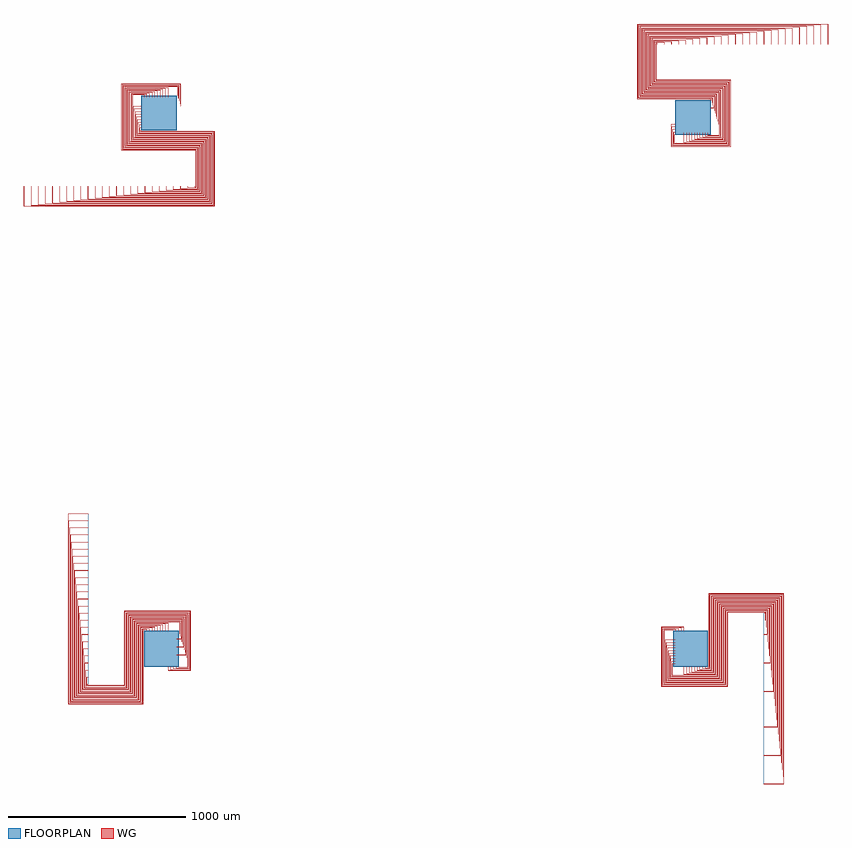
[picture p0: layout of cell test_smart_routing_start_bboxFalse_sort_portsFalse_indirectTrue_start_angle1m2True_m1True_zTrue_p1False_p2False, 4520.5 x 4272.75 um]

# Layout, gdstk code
import gdstk
lib = gdstk.Library(unit=1e-6, precision=1e-09)
def R(c, l, rs):  # rectangles x0, y0, x1, y1
    for r in rs: c.add(gdstk.rectangle(r[:2], r[2:], *l))
def P(c, l, *ps):  # polygons
    for p in ps: c.add(gdstk.Polygon(p, *l))
WG = (1, 0)
FLOORPLAN = (10, 0)

test_smart_routing_start = lib.new_cell('test_smart_routing_start_bboxFalse_sort_portsFalse_indirectTrue_start_angle1m2True_m1True_zTrue_p1False_p2False')
P(test_smart_routing_start, WG, [(-404.5,-204.75),(-404.5,-199.75),(-400,-199.75),(-400,-200.25),(-404,-200.25),(-404,-204.25),(-197.75,-204.25),(-197.75,212.5),(177.75,212.5),(177.75,-122.5),(49.75,-122.5),(49.75,-100),(50.25,-100),(50.25,-122),(177.25,-122),(177.25,212),(-197.25,212),(-197.25,-204.75)],
  [(-409,-209.25),(-409,-159.75),(-400,-159.75),(-400,-160.25),(-408.5,-160.25),(-408.5,-208.75),(-193.25,-208.75),(-193.25,208),(173.25,208),(173.25,-118),(64.75,-118),(64.75,-100),(65.25,-100),(65.25,-117.5),(172.75,-117.5),(172.75,207.5),(-192.75,207.5),(-192.75,-209.25)],
  [(-413.5,-213.75),(-413.5,-119.75),(-400,-119.75),(-400,-120.25),(-413,-120.25),(-413,-213.25),(-188.75,-213.25),(-188.75,203.5),(168.75,203.5),(168.75,-113.5),(79.75,-113.5),(79.75,-100),(80.25,-100),(80.25,-113),(168.25,-113),(168.25,203),(-188.25,203),(-188.25,-213.75)],
  [(-418,-218.25),(-418,-79.75),(-400,-79.75),(-400,-80.25),(-417.5,-80.25),(-417.5,-217.75),(-184.25,-217.75),(-184.25,199),(164.25,199),(164.25,-109),(94.75,-109),(94.75,-100),(95.25,-100),(95.25,-108.5),(163.75,-108.5),(163.75,198.5),(-183.75,198.5),(-183.75,-218.25)],
  [(-422.5,-222.75),(-422.5,-39.75),(-400,-39.75),(-400,-40.25),(-422,-40.25),(-422,-222.25),(-179.75,-222.25),(-179.75,194.5),(159.75,194.5),(159.75,-104.5),(109.75,-104.5),(109.75,-100),(110.25,-100),(110.25,-104),(159.25,-104),(159.25,194),(-179.25,194),(-179.25,-222.75)],
  [(-427,-227.25),(-427,0.25),(-400,0.25),(-400,-0.25),(-426.5,-0.25),(-426.5,-226.75),(-175.25,-226.75),(-175.25,190),(155.25,190),(155.25,-50.25),(100,-50.25),(100,-49.75),(154.75,-49.75),(154.75,189.5),(-174.75,189.5),(-174.75,-227.25)],
  [(-431.5,-231.75),(-431.5,40.25),(-400,40.25),(-400,39.75),(-431,39.75),(-431,-231.25),(-170.75,-231.25),(-170.75,185.5),(150.75,185.5),(150.75,-35.25),(100,-35.25),(100,-34.75),(150.25,-34.75),(150.25,185),(-170.25,185),(-170.25,-231.75)],
  [(-436,-236.25),(-436,80.25),(-400,80.25),(-400,79.75),(-435.5,79.75),(-435.5,-235.75),(-166.25,-235.75),(-166.25,181),(146.25,181),(146.25,-20.25),(100,-20.25),(100,-19.75),(145.75,-19.75),(145.75,180.5),(-165.75,180.5),(-165.75,-236.25)],
  [(-440.5,-240.75),(-440.5,120.25),(-400,120.25),(-400,119.75),(-440,119.75),(-440,-240.25),(-161.75,-240.25),(-161.75,176.5),(141.75,176.5),(141.75,-5.25),(100,-5.25),(100,-4.75),(141.25,-4.75),(141.25,176),(-161.25,176),(-161.25,-240.75)],
  [(-445,-245.25),(-445,160.25),(-400,160.25),(-400,159.75),(-444.5,159.75),(-444.5,-244.75),(-157.25,-244.75),(-157.25,172),(137.25,172),(137.25,9.75),(100,9.75),(100,10.25),(136.75,10.25),(136.75,171.5),(-156.75,171.5),(-156.75,-245.25)],
  [(-449.5,-249.75),(-449.5,200.25),(-400,200.25),(-400,199.75),(-449,199.75),(-449,-249.25),(-152.75,-249.25),(-152.75,167.5),(132.75,167.5),(132.75,24.75),(100,24.75),(100,25.25),(132.25,25.25),(132.25,167),(-152.25,167),(-152.25,-249.75)],
  [(-454,-254.25),(-454,240.25),(-400,240.25),(-400,239.75),(-453.5,239.75),(-453.5,-253.75),(-148.25,-253.75),(-148.25,163),(128.25,163),(128.25,39.75),(100,39.75),(100,40.25),(127.75,40.25),(127.75,162.5),(-147.75,162.5),(-147.75,-254.25)],
  [(-458.5,-258.75),(-458.5,280.25),(-400,280.25),(-400,279.75),(-458,279.75),(-458,-258.25),(-143.75,-258.25),(-143.75,158.5),(123.75,158.5),(123.75,54.75),(100,54.75),(100,55.25),(123.25,55.25),(123.25,158),(-143.25,158),(-143.25,-258.75)],
  [(-463,-263.25),(-463,320.25),(-400,320.25),(-400,319.75),(-462.5,319.75),(-462.5,-262.75),(-139.25,-262.75),(-139.25,154),(119.25,154),(119.25,69.75),(100,69.75),(100,70.25),(118.75,70.25),(118.75,153.5),(-138.75,153.5),(-138.75,-263.25)],
  [(-467.5,-267.75),(-467.5,360.25),(-400,360.25),(-400,359.75),(-467,359.75),(-467,-267.25),(-134.75,-267.25),(-134.75,149.5),(114.75,149.5),(114.75,84.75),(100,84.75),(100,85.25),(114.25,85.25),(114.25,149),(-134.25,149),(-134.25,-267.75)],
  [(-472,-272.25),(-472,400.25),(-400,400.25),(-400,399.75),(-471.5,399.75),(-471.5,-271.75),(-130.25,-271.75),(-130.25,145),(50.25,145),(50.25,100),(49.75,100),(49.75,144.5),(-129.75,144.5),(-129.75,-272.25)],
  [(-476.5,-276.75),(-476.5,440.25),(-400,440.25),(-400,439.75),(-476,439.75),(-476,-276.25),(-125.75,-276.25),(-125.75,140.5),(35.25,140.5),(35.25,100),(34.75,100),(34.75,140),(-125.25,140),(-125.25,-276.75)],
  [(-481,-281.25),(-481,480.25),(-400,480.25),(-400,479.75),(-480.5,479.75),(-480.5,-280.75),(-121.25,-280.75),(-121.25,136),(20.25,136),(20.25,100),(19.75,100),(19.75,135.5),(-120.75,135.5),(-120.75,-281.25)],
  [(-485.5,-285.75),(-485.5,520.25),(-400,520.25),(-400,519.75),(-485,519.75),(-485,-285.25),(-116.75,-285.25),(-116.75,131.5),(5.25,131.5),(5.25,100),(4.75,100),(4.75,131),(-116.25,131),(-116.25,-285.75)],
  [(-490,-290.25),(-490,560.25),(-400,560.25),(-400,559.75),(-489.5,559.75),(-489.5,-289.75),(-112.25,-289.75),(-112.25,127),(-9.75,127),(-9.75,100),(-10.25,100),(-10.25,126.5),(-111.75,126.5),(-111.75,-290.25)],
  [(-494.5,-294.75),(-494.5,600.25),(-400,600.25),(-400,599.75),(-494,599.75),(-494,-294.25),(-107.75,-294.25),(-107.75,122.5),(-24.75,122.5),(-24.75,100),(-25.25,100),(-25.25,122),(-107.25,122),(-107.25,-294.75)],
  [(-499,-299.25),(-499,640.25),(-400,640.25),(-400,639.75),(-498.5,639.75),(-498.5,-298.75),(-103.25,-298.75),(-103.25,118),(-39.75,118),(-39.75,100),(-40.25,100),(-40.25,117.5),(-102.75,117.5),(-102.75,-299.25)],
  [(-503.5,-303.75),(-503.5,680.25),(-400,680.25),(-400,679.75),(-503,679.75),(-503,-303.25),(-98.75,-303.25),(-98.75,113.5),(-54.75,113.5),(-54.75,100),(-55.25,100),(-55.25,113),(-98.25,113),(-98.25,-303.75)],
  [(-508,-308.25),(-508,720.25),(-400,720.25),(-400,719.75),(-507.5,719.75),(-507.5,-307.75),(-94.25,-307.75),(-94.25,109),(-69.75,109),(-69.75,100),(-70.25,100),(-70.25,108.5),(-93.75,108.5),(-93.75,-308.25)],
  [(-512.5,-312.75),(-512.5,760.25),(-400,760.25),(-400,759.75),(-512,759.75),(-512,-312.25),(-89.75,-312.25),(-89.75,104.5),(-84.75,104.5),(-84.75,100),(-85.25,100),(-85.25,104),(-89.25,104),(-89.25,-312.75)],
  [(199.75,2595.5),(199.75,2600),(200.25,2600),(200.25,2596),(204.25,2596),(204.25,2802.25),(-212.5,2802.25),(-212.5,3177.75),(122.5,3177.75),(122.5,3049.75),(100,3049.75),(100,3050.25),(122,3050.25),(122,3177.25),(-212,3177.25),(-212,2802.75),(204.75,2802.75),(204.75,2595.5)],
  [(159.75,2591),(159.75,2600),(160.25,2600),(160.25,2591.5),(208.75,2591.5),(208.75,2806.75),(-208,2806.75),(-208,3173.25),(118,3173.25),(118,3064.75),(100,3064.75),(100,3065.25),(117.5,3065.25),(117.5,3172.75),(-207.5,3172.75),(-207.5,2807.25),(209.25,2807.25),(209.25,2591)],
  [(119.75,2586.5),(119.75,2600),(120.25,2600),(120.25,2587),(213.25,2587),(213.25,2811.25),(-203.5,2811.25),(-203.5,3168.75),(113.5,3168.75),(113.5,3079.75),(100,3079.75),(100,3080.25),(113,3080.25),(113,3168.25),(-203,3168.25),(-203,2811.75),(213.75,2811.75),(213.75,2586.5)],
  [(79.75,2582),(79.75,2600),(80.25,2600),(80.25,2582.5),(217.75,2582.5),(217.75,2815.75),(-199,2815.75),(-199,3164.25),(109,3164.25),(109,3094.75),(100,3094.75),(100,3095.25),(108.5,3095.25),(108.5,3163.75),(-198.5,3163.75),(-198.5,2816.25),(218.25,2816.25),(218.25,2582)],
  [(39.75,2577.5),(39.75,2600),(40.25,2600),(40.25,2578),(222.25,2578),(222.25,2820.25),(-194.5,2820.25),(-194.5,3159.75),(104.5,3159.75),(104.5,3109.75),(100,3109.75),(100,3110.25),(104,3110.25),(104,3159.25),(-194,3159.25),(-194,2820.75),(222.75,2820.75),(222.75,2577.5)],
  [(-0.25,2573),(-0.25,2600),(0.25,2600),(0.25,2573.5),(226.75,2573.5),(226.75,2824.75),(-190,2824.75),(-190,3155.25),(50.25,3155.25),(50.25,3100),(49.75,3100),(49.75,3154.75),(-189.5,3154.75),(-189.5,2825.25),(227.25,2825.25),(227.25,2573)],
  [(-40.25,2568.5),(-40.25,2600),(-39.75,2600),(-39.75,2569),(231.25,2569),(231.25,2829.25),(-185.5,2829.25),(-185.5,3150.75),(35.25,3150.75),(35.25,3100),(34.75,3100),(34.75,3150.25),(-185,3150.25),(-185,2829.75),(231.75,2829.75),(231.75,2568.5)],
  [(-80.25,2564),(-80.25,2600),(-79.75,2600),(-79.75,2564.5),(235.75,2564.5),(235.75,2833.75),(-181,2833.75),(-181,3146.25),(20.25,3146.25),(20.25,3100),(19.75,3100),(19.75,3145.75),(-180.5,3145.75),(-180.5,2834.25),(236.25,2834.25),(236.25,2564)],
  [(-120.25,2559.5),(-120.25,2600),(-119.75,2600),(-119.75,2560),(240.25,2560),(240.25,2838.25),(-176.5,2838.25),(-176.5,3141.75),(5.25,3141.75),(5.25,3100),(4.75,3100),(4.75,3141.25),(-176,3141.25),(-176,2838.75),(240.75,2838.75),(240.75,2559.5)],
  [(-160.25,2555),(-160.25,2600),(-159.75,2600),(-159.75,2555.5),(244.75,2555.5),(244.75,2842.75),(-172,2842.75),(-172,3137.25),(-9.75,3137.25),(-9.75,3100),(-10.25,3100),(-10.25,3136.75),(-171.5,3136.75),(-171.5,2843.25),(245.25,2843.25),(245.25,2555)],
  [(-200.25,2550.5),(-200.25,2600),(-199.75,2600),(-199.75,2551),(249.25,2551),(249.25,2847.25),(-167.5,2847.25),(-167.5,3132.75),(-24.75,3132.75),(-24.75,3100),(-25.25,3100),(-25.25,3132.25),(-167,3132.25),(-167,2847.75),(249.75,2847.75),(249.75,2550.5)],
  [(-240.25,2546),(-240.25,2600),(-239.75,2600),(-239.75,2546.5),(253.75,2546.5),(253.75,2851.75),(-163,2851.75),(-163,3128.25),(-39.75,3128.25),(-39.75,3100),(-40.25,3100),(-40.25,3127.75),(-162.5,3127.75),(-162.5,2852.25),(254.25,2852.25),(254.25,2546)],
  [(-280.25,2541.5),(-280.25,2600),(-279.75,2600),(-279.75,2542),(258.25,2542),(258.25,2856.25),(-158.5,2856.25),(-158.5,3123.75),(-54.75,3123.75),(-54.75,3100),(-55.25,3100),(-55.25,3123.25),(-158,3123.25),(-158,2856.75),(258.75,2856.75),(258.75,2541.5)],
  [(-320.25,2537),(-320.25,2600),(-319.75,2600),(-319.75,2537.5),(262.75,2537.5),(262.75,2860.75),(-154,2860.75),(-154,3119.25),(-69.75,3119.25),(-69.75,3100),(-70.25,3100),(-70.25,3118.75),(-153.5,3118.75),(-153.5,2861.25),(263.25,2861.25),(263.25,2537)],
  [(-360.25,2532.5),(-360.25,2600),(-359.75,2600),(-359.75,2533),(267.25,2533),(267.25,2865.25),(-149.5,2865.25),(-149.5,3114.75),(-84.75,3114.75),(-84.75,3100),(-85.25,3100),(-85.25,3114.25),(-149,3114.25),(-149,2865.75),(267.75,2865.75),(267.75,2532.5)],
  [(-400.25,2528),(-400.25,2600),(-399.75,2600),(-399.75,2528.5),(271.75,2528.5),(271.75,2869.75),(-145,2869.75),(-145,3050.25),(-100,3050.25),(-100,3049.75),(-144.5,3049.75),(-144.5,2870.25),(272.25,2870.25),(272.25,2528)],
  [(-440.25,2523.5),(-440.25,2600),(-439.75,2600),(-439.75,2524),(276.25,2524),(276.25,2874.25),(-140.5,2874.25),(-140.5,3035.25),(-100,3035.25),(-100,3034.75),(-140,3034.75),(-140,2874.75),(276.75,2874.75),(276.75,2523.5)],
  [(-480.25,2519),(-480.25,2600),(-479.75,2600),(-479.75,2519.5),(280.75,2519.5),(280.75,2878.75),(-136,2878.75),(-136,3020.25),(-100,3020.25),(-100,3019.75),(-135.5,3019.75),(-135.5,2879.25),(281.25,2879.25),(281.25,2519)],
  [(-520.25,2514.5),(-520.25,2600),(-519.75,2600),(-519.75,2515),(285.25,2515),(285.25,2883.25),(-131.5,2883.25),(-131.5,3005.25),(-100,3005.25),(-100,3004.75),(-131,3004.75),(-131,2883.75),(285.75,2883.75),(285.75,2514.5)],
  [(-560.25,2510),(-560.25,2600),(-559.75,2600),(-559.75,2510.5),(289.75,2510.5),(289.75,2887.75),(-127,2887.75),(-127,2990.25),(-100,2990.25),(-100,2989.75),(-126.5,2989.75),(-126.5,2888.25),(290.25,2888.25),(290.25,2510)],
  [(-600.25,2505.5),(-600.25,2600),(-599.75,2600),(-599.75,2506),(294.25,2506),(294.25,2892.25),(-122.5,2892.25),(-122.5,2975.25),(-100,2975.25),(-100,2974.75),(-122,2974.75),(-122,2892.75),(294.75,2892.75),(294.75,2505.5)],
  [(-640.25,2501),(-640.25,2600),(-639.75,2600),(-639.75,2501.5),(298.75,2501.5),(298.75,2896.75),(-118,2896.75),(-118,2960.25),(-100,2960.25),(-100,2959.75),(-117.5,2959.75),(-117.5,2897.25),(299.25,2897.25),(299.25,2501)],
  [(-680.25,2496.5),(-680.25,2600),(-679.75,2600),(-679.75,2497),(303.25,2497),(303.25,2901.25),(-113.5,2901.25),(-113.5,2945.25),(-100,2945.25),(-100,2944.75),(-113,2944.75),(-113,2901.75),(303.75,2901.75),(303.75,2496.5)],
  [(-720.25,2492),(-720.25,2600),(-719.75,2600),(-719.75,2492.5),(307.75,2492.5),(307.75,2905.75),(-109,2905.75),(-109,2930.25),(-100,2930.25),(-100,2929.75),(-108.5,2929.75),(-108.5,2906.25),(308.25,2906.25),(308.25,2492)],
  [(-760.25,2487.5),(-760.25,2600),(-759.75,2600),(-759.75,2488),(312.25,2488),(312.25,2910.25),(-104.5,2910.25),(-104.5,2915.25),(-100,2915.25),(-100,2914.75),(-104,2914.75),(-104,2910.75),(312.75,2910.75),(312.75,2487.5)],
  [(2822.25,-212.5),(2822.25,122.5),(2950.25,122.5),(2950.25,100),(2949.75,100),(2949.75,122),(2822.75,122),(2822.75,-212),(3197.25,-212),(3197.25,204.75),(3404.5,204.75),(3404.5,199.75),(3400,199.75),(3400,200.25),(3404,200.25),(3404,204.25),(3197.75,204.25),(3197.75,-212.5)],
  [(2826.75,-208),(2826.75,118),(2935.25,118),(2935.25,100),(2934.75,100),(2934.75,117.5),(2827.25,117.5),(2827.25,-207.5),(3192.75,-207.5),(3192.75,209.25),(3409,209.25),(3409,159.75),(3400,159.75),(3400,160.25),(3408.5,160.25),(3408.5,208.75),(3193.25,208.75),(3193.25,-208)],
  [(2831.25,-203.5),(2831.25,113.5),(2920.25,113.5),(2920.25,100),(2919.75,100),(2919.75,113),(2831.75,113),(2831.75,-203),(3188.25,-203),(3188.25,213.75),(3413.5,213.75),(3413.5,119.75),(3400,119.75),(3400,120.25),(3413,120.25),(3413,213.25),(3188.75,213.25),(3188.75,-203.5)],
  [(2835.75,-199),(2835.75,109),(2905.25,109),(2905.25,100),(2904.75,100),(2904.75,108.5),(2836.25,108.5),(2836.25,-198.5),(3183.75,-198.5),(3183.75,218.25),(3418,218.25),(3418,79.75),(3400,79.75),(3400,80.25),(3417.5,80.25),(3417.5,217.75),(3184.25,217.75),(3184.25,-199)],
  [(2840.25,-194.5),(2840.25,104.5),(2890.25,104.5),(2890.25,100),(2889.75,100),(2889.75,104),(2840.75,104),(2840.75,-194),(3179.25,-194),(3179.25,222.75),(3422.5,222.75),(3422.5,39.75),(3400,39.75),(3400,40.25),(3422,40.25),(3422,222.25),(3179.75,222.25),(3179.75,-194.5)],
  [(2844.75,-190),(2844.75,50.25),(2900,50.25),(2900,49.75),(2845.25,49.75),(2845.25,-189.5),(3174.75,-189.5),(3174.75,227.25),(3427,227.25),(3427,-0.25),(3400,-0.25),(3400,0.25),(3426.5,0.25),(3426.5,226.75),(3175.25,226.75),(3175.25,-190)],
  [(2849.25,-185.5),(2849.25,35.25),(2900,35.25),(2900,34.75),(2849.75,34.75),(2849.75,-185),(3170.25,-185),(3170.25,231.75),(3431.5,231.75),(3431.5,-40.25),(3400,-40.25),(3400,-39.75),(3431,-39.75),(3431,231.25),(3170.75,231.25),(3170.75,-185.5)],
  [(2853.75,-181),(2853.75,20.25),(2900,20.25),(2900,19.75),(2854.25,19.75),(2854.25,-180.5),(3165.75,-180.5),(3165.75,236.25),(3436,236.25),(3436,-80.25),(3400,-80.25),(3400,-79.75),(3435.5,-79.75),(3435.5,235.75),(3166.25,235.75),(3166.25,-181)],
  [(2858.25,-176.5),(2858.25,5.25),(2900,5.25),(2900,4.75),(2858.75,4.75),(2858.75,-176),(3161.25,-176),(3161.25,240.75),(3440.5,240.75),(3440.5,-120.25),(3400,-120.25),(3400,-119.75),(3440,-119.75),(3440,240.25),(3161.75,240.25),(3161.75,-176.5)],
  [(2862.75,-172),(2862.75,-9.75),(2900,-9.75),(2900,-10.25),(2863.25,-10.25),(2863.25,-171.5),(3156.75,-171.5),(3156.75,245.25),(3445,245.25),(3445,-160.25),(3400,-160.25),(3400,-159.75),(3444.5,-159.75),(3444.5,244.75),(3157.25,244.75),(3157.25,-172)],
  [(3400,-200.25),(3400,-199.75),(3449,-199.75),(3449,249.25),(3152.75,249.25),(3152.75,-167.5),(2867.25,-167.5),(2867.25,-24.75),(2900,-24.75),(2900,-25.25),(2867.75,-25.25),(2867.75,-167),(3152.25,-167),(3152.25,249.75),(3449.5,249.75),(3449.5,-200.25)],
  [(3400,-240.25),(3400,-239.75),(3453.5,-239.75),(3453.5,253.75),(3148.25,253.75),(3148.25,-163),(2871.75,-163),(2871.75,-39.75),(2900,-39.75),(2900,-40.25),(2872.25,-40.25),(2872.25,-162.5),(3147.75,-162.5),(3147.75,254.25),(3454,254.25),(3454,-240.25)],
  [(3400,-280.25),(3400,-279.75),(3458,-279.75),(3458,258.25),(3143.75,258.25),(3143.75,-158.5),(2876.25,-158.5),(2876.25,-54.75),(2900,-54.75),(2900,-55.25),(2876.75,-55.25),(2876.75,-158),(3143.25,-158),(3143.25,258.75),(3458.5,258.75),(3458.5,-280.25)],
  [(3400,-320.25),(3400,-319.75),(3462.5,-319.75),(3462.5,262.75),(3139.25,262.75),(3139.25,-154),(2880.75,-154),(2880.75,-69.75),(2900,-69.75),(2900,-70.25),(2881.25,-70.25),(2881.25,-153.5),(3138.75,-153.5),(3138.75,263.25),(3463,263.25),(3463,-320.25)],
  [(3400,-360.25),(3400,-359.75),(3467,-359.75),(3467,267.25),(3134.75,267.25),(3134.75,-149.5),(2885.25,-149.5),(2885.25,-84.75),(2900,-84.75),(2900,-85.25),(2885.75,-85.25),(2885.75,-149),(3134.25,-149),(3134.25,267.75),(3467.5,267.75),(3467.5,-360.25)],
  [(3400,-400.25),(3400,-399.75),(3471.5,-399.75),(3471.5,271.75),(3130.25,271.75),(3130.25,-145),(2949.75,-145),(2949.75,-100),(2950.25,-100),(2950.25,-144.5),(3129.75,-144.5),(3129.75,272.25),(3472,272.25),(3472,-400.25)],
  [(3400,-440.25),(3400,-439.75),(3476,-439.75),(3476,276.25),(3125.75,276.25),(3125.75,-140.5),(2964.75,-140.5),(2964.75,-100),(2965.25,-100),(2965.25,-140),(3125.25,-140),(3125.25,276.75),(3476.5,276.75),(3476.5,-440.25)],
  [(3400,-480.25),(3400,-479.75),(3480.5,-479.75),(3480.5,280.75),(3121.25,280.75),(3121.25,-136),(2979.75,-136),(2979.75,-100),(2980.25,-100),(2980.25,-135.5),(3120.75,-135.5),(3120.75,281.25),(3481,281.25),(3481,-480.25)],
  [(3400,-520.25),(3400,-519.75),(3485,-519.75),(3485,285.25),(3116.75,285.25),(3116.75,-131.5),(2994.75,-131.5),(2994.75,-100),(2995.25,-100),(2995.25,-131),(3116.25,-131),(3116.25,285.75),(3485.5,285.75),(3485.5,-520.25)],
  [(3400,-560.25),(3400,-559.75),(3489.5,-559.75),(3489.5,289.75),(3112.25,289.75),(3112.25,-127),(3009.75,-127),(3009.75,-100),(3010.25,-100),(3010.25,-126.5),(3111.75,-126.5),(3111.75,290.25),(3490,290.25),(3490,-560.25)],
  [(3400,-600.25),(3400,-599.75),(3494,-599.75),(3494,294.25),(3107.75,294.25),(3107.75,-122.5),(3024.75,-122.5),(3024.75,-100),(3025.25,-100),(3025.25,-122),(3107.25,-122),(3107.25,294.75),(3494.5,294.75),(3494.5,-600.25)],
  [(3400,-640.25),(3400,-639.75),(3498.5,-639.75),(3498.5,298.75),(3103.25,298.75),(3103.25,-118),(3039.75,-118),(3039.75,-100),(3040.25,-100),(3040.25,-117.5),(3102.75,-117.5),(3102.75,299.25),(3499,299.25),(3499,-640.25)],
  [(3400,-680.25),(3400,-679.75),(3503,-679.75),(3503,303.25),(3098.75,303.25),(3098.75,-113.5),(3054.75,-113.5),(3054.75,-100),(3055.25,-100),(3055.25,-113),(3098.25,-113),(3098.25,303.75),(3503.5,303.75),(3503.5,-680.25)],
  [(3400,-720.25),(3400,-719.75),(3507.5,-719.75),(3507.5,307.75),(3094.25,307.75),(3094.25,-109),(3069.75,-109),(3069.75,-100),(3070.25,-100),(3070.25,-108.5),(3093.75,-108.5),(3093.75,308.25),(3508,308.25),(3508,-720.25)],
  [(3400,-760.25),(3400,-759.75),(3512,-759.75),(3512,312.25),(3089.75,312.25),(3089.75,-104.5),(3084.75,-104.5),(3084.75,-100),(3085.25,-100),(3085.25,-104),(3089.25,-104),(3089.25,312.75),(3512.5,312.75),(3512.5,-760.25)],
  [(2877.5,2822.25),(2877.5,2950.25),(2900,2950.25),(2900,2949.75),(2878,2949.75),(2878,2822.75),(3212,2822.75),(3212,3197.25),(2795.25,3197.25),(2795.25,3404.5),(2800.25,3404.5),(2800.25,3400),(2799.75,3400),(2799.75,3404),(2795.75,3404),(2795.75,3197.75),(3212.5,3197.75),(3212.5,2822.25)],
  [(2882,2826.75),(2882,2935.25),(2900,2935.25),(2900,2934.75),(2882.5,2934.75),(2882.5,2827.25),(3207.5,2827.25),(3207.5,3192.75),(2790.75,3192.75),(2790.75,3409),(2840.25,3409),(2840.25,3400),(2839.75,3400),(2839.75,3408.5),(2791.25,3408.5),(2791.25,3193.25),(3208,3193.25),(3208,2826.75)],
  [(2886.5,2831.25),(2886.5,2920.25),(2900,2920.25),(2900,2919.75),(2887,2919.75),(2887,2831.75),(3203,2831.75),(3203,3188.25),(2786.25,3188.25),(2786.25,3413.5),(2880.25,3413.5),(2880.25,3400),(2879.75,3400),(2879.75,3413),(2786.75,3413),(2786.75,3188.75),(3203.5,3188.75),(3203.5,2831.25)],
  [(2891,2835.75),(2891,2905.25),(2900,2905.25),(2900,2904.75),(2891.5,2904.75),(2891.5,2836.25),(3198.5,2836.25),(3198.5,3183.75),(2781.75,3183.75),(2781.75,3418),(2920.25,3418),(2920.25,3400),(2919.75,3400),(2919.75,3417.5),(2782.25,3417.5),(2782.25,3184.25),(3199,3184.25),(3199,2835.75)],
  [(2895.5,2840.25),(2895.5,2890.25),(2900,2890.25),(2900,2889.75),(2896,2889.75),(2896,2840.75),(3194,2840.75),(3194,3179.25),(2777.25,3179.25),(2777.25,3422.5),(2960.25,3422.5),(2960.25,3400),(2959.75,3400),(2959.75,3422),(2777.75,3422),(2777.75,3179.75),(3194.5,3179.75),(3194.5,2840.25)],
  [(2949.75,2844.75),(2949.75,2900),(2950.25,2900),(2950.25,2845.25),(3189.5,2845.25),(3189.5,3174.75),(2772.75,3174.75),(2772.75,3427),(3000.25,3427),(3000.25,3400),(2999.75,3400),(2999.75,3426.5),(2773.25,3426.5),(2773.25,3175.25),(3190,3175.25),(3190,2844.75)],
  [(2964.75,2849.25),(2964.75,2900),(2965.25,2900),(2965.25,2849.75),(3185,2849.75),(3185,3170.25),(2768.25,3170.25),(2768.25,3431.5),(3040.25,3431.5),(3040.25,3400),(3039.75,3400),(3039.75,3431),(2768.75,3431),(2768.75,3170.75),(3185.5,3170.75),(3185.5,2849.25)],
  [(2979.75,2853.75),(2979.75,2900),(2980.25,2900),(2980.25,2854.25),(3180.5,2854.25),(3180.5,3165.75),(2763.75,3165.75),(2763.75,3436),(3080.25,3436),(3080.25,3400),(3079.75,3400),(3079.75,3435.5),(2764.25,3435.5),(2764.25,3166.25),(3181,3166.25),(3181,2853.75)],
  [(2994.75,2858.25),(2994.75,2900),(2995.25,2900),(2995.25,2858.75),(3176,2858.75),(3176,3161.25),(2759.25,3161.25),(2759.25,3440.5),(3120.25,3440.5),(3120.25,3400),(3119.75,3400),(3119.75,3440),(2759.75,3440),(2759.75,3161.75),(3176.5,3161.75),(3176.5,2858.25)],
  [(3009.75,2862.75),(3009.75,2900),(3010.25,2900),(3010.25,2863.25),(3171.5,2863.25),(3171.5,3156.75),(2754.75,3156.75),(2754.75,3445),(3160.25,3445),(3160.25,3400),(3159.75,3400),(3159.75,3444.5),(2755.25,3444.5),(2755.25,3157.25),(3172,3157.25),(3172,2862.75)],
  [(3024.75,2867.25),(3024.75,2900),(3025.25,2900),(3025.25,2867.75),(3167,2867.75),(3167,3152.25),(2750.25,3152.25),(2750.25,3449.5),(3200.25,3449.5),(3200.25,3400),(3199.75,3400),(3199.75,3449),(2750.75,3449),(2750.75,3152.75),(3167.5,3152.75),(3167.5,2867.25)],
  [(3039.75,2871.75),(3039.75,2900),(3040.25,2900),(3040.25,2872.25),(3162.5,2872.25),(3162.5,3147.75),(2745.75,3147.75),(2745.75,3454),(3240.25,3454),(3240.25,3400),(3239.75,3400),(3239.75,3453.5),(2746.25,3453.5),(2746.25,3148.25),(3163,3148.25),(3163,2871.75)],
  [(3054.75,2876.25),(3054.75,2900),(3055.25,2900),(3055.25,2876.75),(3158,2876.75),(3158,3143.25),(2741.25,3143.25),(2741.25,3458.5),(3280.25,3458.5),(3280.25,3400),(3279.75,3400),(3279.75,3458),(2741.75,3458),(2741.75,3143.75),(3158.5,3143.75),(3158.5,2876.25)],
  [(3069.75,2880.75),(3069.75,2900),(3070.25,2900),(3070.25,2881.25),(3153.5,2881.25),(3153.5,3138.75),(2736.75,3138.75),(2736.75,3463),(3320.25,3463),(3320.25,3400),(3319.75,3400),(3319.75,3462.5),(2737.25,3462.5),(2737.25,3139.25),(3154,3139.25),(3154,2880.75)],
  [(3084.75,2885.25),(3084.75,2900),(3085.25,2900),(3085.25,2885.75),(3149,2885.75),(3149,3134.25),(2732.25,3134.25),(2732.25,3467.5),(3360.25,3467.5),(3360.25,3400),(3359.75,3400),(3359.75,3467),(2732.75,3467),(2732.75,3134.75),(3149.5,3134.75),(3149.5,2885.25)],
  [(3100,2949.75),(3100,2950.25),(3144.5,2950.25),(3144.5,3129.75),(2727.75,3129.75),(2727.75,3472),(3400.25,3472),(3400.25,3400),(3399.75,3400),(3399.75,3471.5),(2728.25,3471.5),(2728.25,3130.25),(3145,3130.25),(3145,2949.75)],
  [(3100,2964.75),(3100,2965.25),(3140,2965.25),(3140,3125.25),(2723.25,3125.25),(2723.25,3476.5),(3440.25,3476.5),(3440.25,3400),(3439.75,3400),(3439.75,3476),(2723.75,3476),(2723.75,3125.75),(3140.5,3125.75),(3140.5,2964.75)],
  [(3100,2979.75),(3100,2980.25),(3135.5,2980.25),(3135.5,3120.75),(2718.75,3120.75),(2718.75,3481),(3480.25,3481),(3480.25,3400),(3479.75,3400),(3479.75,3480.5),(2719.25,3480.5),(2719.25,3121.25),(3136,3121.25),(3136,2979.75)],
  [(3100,2994.75),(3100,2995.25),(3131,2995.25),(3131,3116.25),(2714.25,3116.25),(2714.25,3485.5),(3520.25,3485.5),(3520.25,3400),(3519.75,3400),(3519.75,3485),(2714.75,3485),(2714.75,3116.75),(3131.5,3116.75),(3131.5,2994.75)],
  [(3100,3009.75),(3100,3010.25),(3126.5,3010.25),(3126.5,3111.75),(2709.75,3111.75),(2709.75,3490),(3560.25,3490),(3560.25,3400),(3559.75,3400),(3559.75,3489.5),(2710.25,3489.5),(2710.25,3112.25),(3127,3112.25),(3127,3009.75)],
  [(3100,3024.75),(3100,3025.25),(3122,3025.25),(3122,3107.25),(2705.25,3107.25),(2705.25,3494.5),(3600.25,3494.5),(3600.25,3400),(3599.75,3400),(3599.75,3494),(2705.75,3494),(2705.75,3107.75),(3122.5,3107.75),(3122.5,3024.75)],
  [(3100,3039.75),(3100,3040.25),(3117.5,3040.25),(3117.5,3102.75),(2700.75,3102.75),(2700.75,3499),(3640.25,3499),(3640.25,3400),(3639.75,3400),(3639.75,3498.5),(2701.25,3498.5),(2701.25,3103.25),(3118,3103.25),(3118,3039.75)],
  [(3100,3054.75),(3100,3055.25),(3113,3055.25),(3113,3098.25),(2696.25,3098.25),(2696.25,3503.5),(3680.25,3503.5),(3680.25,3400),(3679.75,3400),(3679.75,3503),(2696.75,3503),(2696.75,3098.75),(3113.5,3098.75),(3113.5,3054.75)],
  [(3100,3069.75),(3100,3070.25),(3108.5,3070.25),(3108.5,3093.75),(2691.75,3093.75),(2691.75,3508),(3720.25,3508),(3720.25,3400),(3719.75,3400),(3719.75,3507.5),(2692.25,3507.5),(2692.25,3094.25),(3109,3094.25),(3109,3069.75)],
  [(3100,3084.75),(3100,3085.25),(3104,3085.25),(3104,3089.25),(2687.25,3089.25),(2687.25,3512.5),(3760.25,3512.5),(3760.25,3400),(3759.75,3400),(3759.75,3512),(2687.75,3512),(2687.75,3089.75),(3104.5,3089.75),(3104.5,3084.75)])
R(test_smart_routing_start, FLOORPLAN, [(-85,-100,110,100), (2890,-100,3085,100), (2900,2890,3100,3085), (-100,2915,100,3110)])
P(test_smart_routing_start, FLOORPLAN, [(-400,-200),(-400,760),(-400,760),(-400,-200)],
  [(-760,2600),(-760,2600),(200,2600),(200,2600)],
  [(3400,-760),(3400,200),(3400,200),(3400,-760)],
  [(2800,3400),(2800,3400),(3760,3400),(3760,3400)])

lib.write_gds('test_smart_routing_start_bboxFalse_sort_portsFalse_indirectTrue_start_angle1m2True_m1True_zTrue_p1False_p2False.gds')
